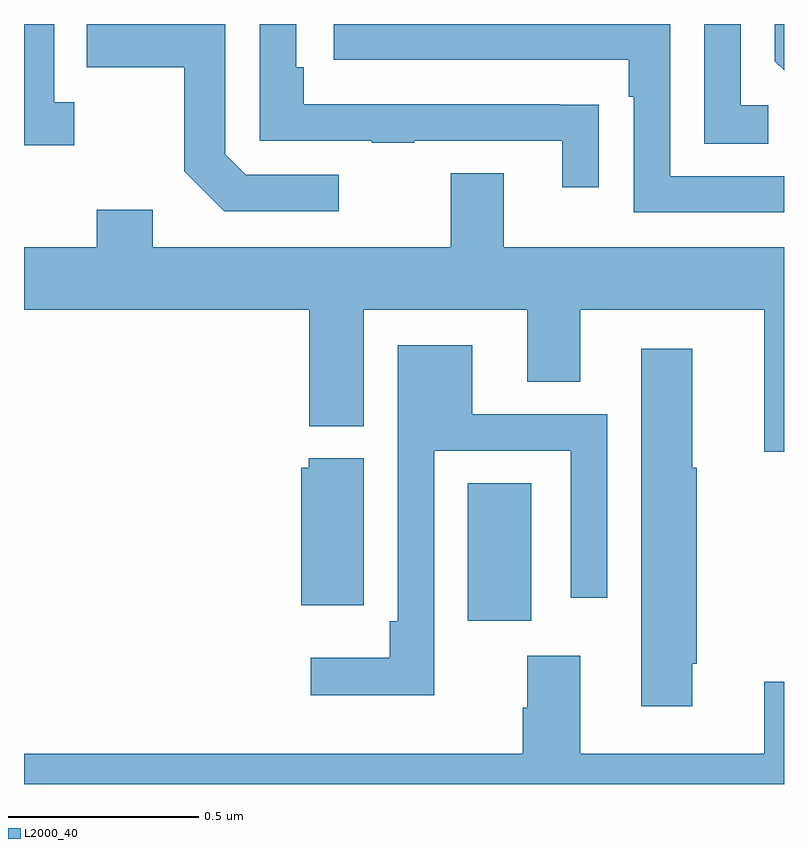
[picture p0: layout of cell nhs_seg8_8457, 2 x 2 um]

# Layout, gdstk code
import gdstk
lib = gdstk.Library(unit=1e-6, precision=1e-09)
def R(c, l, rs):  # rectangles x0, y0, x1, y1
    for r in rs: c.add(gdstk.rectangle(r[:2], r[2:], *l))
def P(c, l, *ps):  # polygons
    for p in ps: c.add(gdstk.Polygon(p, *l))
L2000_40 = (2000, 40)

nhs_seg8_8457 = lib.new_cell('nhs_seg8_8457')
R(nhs_seg8_8457, L2000_40, [(224.168,1134.33,224.335,1134.692)])
P(nhs_seg8_8457, L2000_40, [(225,1135.9),(224.976,1135.9),(224.976,1135.802),(225,1135.778)],
  [(223.132,1135.694),(223.08,1135.694),(223.08,1135.9),(223,1135.9),(223,1135.581),(223.132,1135.581)],
  [(223.828,1135.503),(223.584,1135.503),(223.53,1135.557),(223.53,1135.9),(223.165,1135.9),(223.165,1135.786),(223.422,1135.786),(223.422,1135.513),(223.527,1135.407),(223.828,1135.407)],
  [(224.959,1135.686),(224.886,1135.686),(224.886,1135.9),(224.79,1135.9),(224.79,1135.585),(224.959,1135.585)],
  [(225,1135.5),(224.7,1135.5),(224.7,1135.9),(223.815,1135.9),(223.815,1135.806),(224.591,1135.806),(224.591,1135.709),(224.604,1135.709),(224.604,1135.404),(225,1135.404)],
  [(224.513,1135.688),(224.411,1135.688),(224.411,1135.689),(223.736,1135.689),(223.736,1135.786),(223.716,1135.786),(223.716,1135.9),(223.62,1135.9),(223.62,1135.593),(223.915,1135.593),(223.915,1135.588),(224.027,1135.588),(224.027,1135.593),(224.417,1135.593),(224.417,1135.47),(224.513,1135.47)],
  [(225,1135.312),(224.263,1135.312),(224.263,1135.507),(224.123,1135.507),(224.123,1135.312),(223.339,1135.312),(223.339,1135.411),(223.192,1135.411),(223.192,1135.312),(223,1135.312),(223,1135.148),(223.751,1135.148),(223.751,1134.842),(223.894,1134.842),(223.894,1135.148),(224.324,1135.148),(224.324,1134.958),(224.464,1134.958),(224.464,1135.148),(224.948,1135.148),(224.948,1134.774),(225,1134.774)],
  [(224.079,1134.777),(224.439,1134.777),(224.439,1134.39),(224.535,1134.39),(224.535,1134.873),(224.179,1134.873),(224.179,1135.054),(223.983,1135.054),(223.983,1134.328),(223.963,1134.328),(223.963,1134.232),(223.755,1134.232),(223.755,1134.134),(224.079,1134.134)],
  [(224.758,1134.217),(224.771,1134.217),(224.771,1134.732),(224.758,1134.732),(224.758,1135.045),(224.624,1135.045),(224.624,1134.105),(224.758,1134.105)],
  [(223.894,1134.757),(223.749,1134.757),(223.749,1134.732),(223.73,1134.732),(223.73,1134.371),(223.894,1134.371)],
  [(225,1134.169),(224.948,1134.169),(224.948,1133.98),(224.464,1133.98),(224.464,1134.238),(224.324,1134.238),(224.324,1134.101),(224.312,1134.101),(224.312,1133.98),(223,1133.98),(223,1133.9),(225,1133.9)])

lib.write_gds('nhs_seg8_8457.gds')
